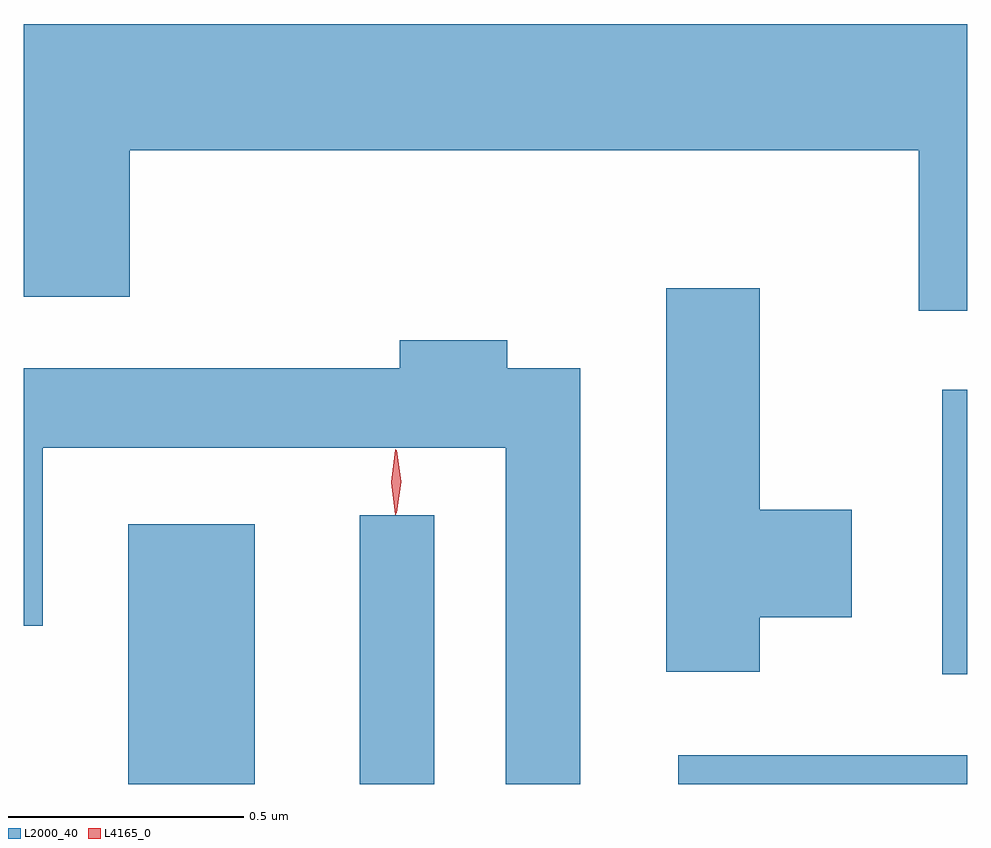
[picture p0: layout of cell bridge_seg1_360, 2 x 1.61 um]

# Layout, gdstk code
import gdstk
lib = gdstk.Library(unit=1e-6, precision=1e-09)
def R(c, l, rs):  # rectangles x0, y0, x1, y1
    for r in rs: c.add(gdstk.rectangle(r[:2], r[2:], *l))
def P(c, l, *ps):  # polygons
    for p in ps: c.add(gdstk.Polygon(p, *l))
L2000_40 = (2000, 40)
L4165_0 = (4165, 0)

bridge_seg1_360 = lib.new_cell('bridge_seg1_360')
R(bridge_seg1_360, L2000_40, [(941.946,884.913,942.214,885.464), (942.436,884.913,942.594,885.483), (943.111,884.913,943.724,884.974), (943.671,885.146,943.724,885.749)])
P(bridge_seg1_360, L2000_40, [(943.724,886.524),(941.724,886.524),(941.724,885.946),(941.949,885.946),(941.949,886.256),(943.621,886.256),(943.621,885.916),(943.724,885.916)],
  [(943.284,885.266),(943.479,885.266),(943.479,885.494),(943.284,885.494),(943.284,885.964),(943.086,885.964),(943.086,885.151),(943.284,885.151)],
  [(942.904,885.794),(942.749,885.794),(942.749,885.854),(942.521,885.854),(942.521,885.794),(941.724,885.794),(941.724,885.248),(941.764,885.248),(941.764,885.626),(942.746,885.626),(942.746,884.913),(942.904,884.913)])
P(bridge_seg1_360, L4165_0, [(942.515,885.487),(942.514,885.488),(942.505,885.554),(942.514,885.62),(942.514,885.62),(942.515,885.62),(942.524,885.554),(942.515,885.488)],
  [(942.512,885.484),(942.503,885.553),(942.512,885.622),(942.513,885.623),(942.513,885.622),(942.523,885.553),(942.513,885.484),(942.513,885.484)])

lib.write_gds('bridge_seg1_360.gds')
